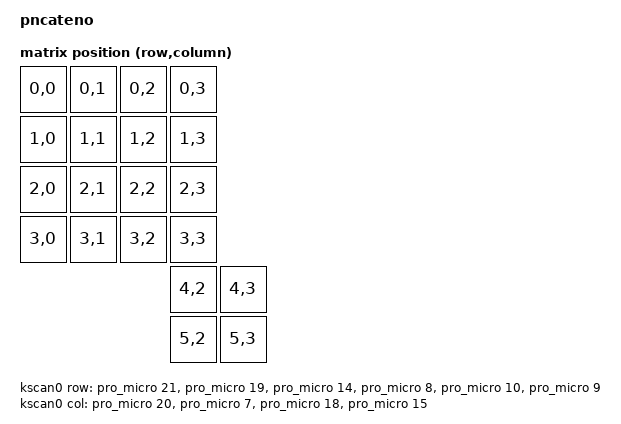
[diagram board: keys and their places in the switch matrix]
#include <dt-bindings/zmk/matrix_transform.h>
#include "PNCATENO-layout.dtsi"

&PNCATENO_layout { 
    transform = <&default_transform>;
};

/ {
    model = "pncateno";
    compatible = "aroum,pncateno";
    

    chosen {
        zmk,kscan = &kscan0;
        zmk,physical-layout = &PNCATENO_layout;
	};

    default_transform: keymap_transform_0 {
        compatible = "zmk,matrix-transform";
        columns = <4>;
        rows = <6>;
        map = <
        RC(0,0) RC(0,1) RC(0,2) RC(0,3)   
        RC(1,0) RC(1,1) RC(1,2) RC(1,3)   
        RC(2,0) RC(2,1) RC(2,2) RC(2,3)   
        RC(3,0) RC(3,1) RC(3,2) RC(3,3)   
                                RC(4,2) RC(4,3)
                                RC(5,2) RC(5,3)
            >;
        };

    kscan0: kscan_0 {
        compatible = "zmk,kscan-gpio-matrix";
        label = "KSCAN";
        diode-direction = "col2row";
        wakeup-source;

        col-gpios = 
            <&pro_micro 20 GPIO_ACTIVE_HIGH>,
            <&pro_micro 7 GPIO_ACTIVE_HIGH>,
            <&pro_micro 18 GPIO_ACTIVE_HIGH>,
            <&pro_micro 15 GPIO_ACTIVE_HIGH>;

        row-gpios = 
            <&pro_micro 21 (GPIO_ACTIVE_HIGH | GPIO_PULL_DOWN)>,
            <&pro_micro 19 (GPIO_ACTIVE_HIGH | GPIO_PULL_DOWN)>,
            <&pro_micro 14 (GPIO_ACTIVE_HIGH | GPIO_PULL_DOWN)>,
            <&pro_micro 8 (GPIO_ACTIVE_HIGH | GPIO_PULL_DOWN)>,
            <&pro_micro 10 (GPIO_ACTIVE_HIGH | GPIO_PULL_DOWN)>,
            <&pro_micro 9 (GPIO_ACTIVE_HIGH | GPIO_PULL_DOWN)>;
    };
};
